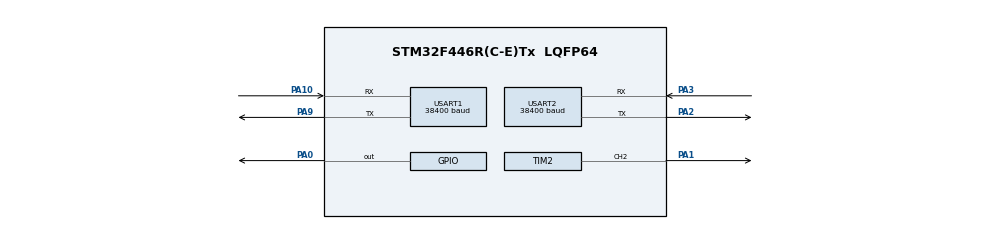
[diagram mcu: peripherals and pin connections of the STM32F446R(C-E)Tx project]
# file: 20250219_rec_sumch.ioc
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Mcu.Family=STM32F4
Mcu.Name=STM32F446R(C-E)Tx
Mcu.Package=LQFP64
NVIC.PriorityGroup=NVIC_PRIORITYGROUP_4
PA0-WKUP.Signal=GPIO_Output
PA1.Signal=S_TIM2_CH2
PA10.Mode=Asynchronous
PA10.Signal=USART1_RX
PA2.Mode=Asynchronous
PA2.Signal=USART2_TX
PA3.Mode=Asynchronous
PA3.Signal=USART2_RX
PA9.Mode=Asynchronous
PA9.Signal=USART1_TX
ProjectManager.HeapSize=0x200
ProjectManager.StackSize=0x400
ProjectManager.TargetToolchain=STM32CubeIDE
RCC.CortexFreq_Value=16000000
RCC.USBFreq_Value=96000000
RCC.VCOOutputFreq_Value=192000000
SH.S_TIM2_CH2.0=TIM2_CH2,PWM Generation2 CH2
TIM2.Channel-PWM\ Generation2\ CH2=TIM_CHANNEL_2
TIM2.OC2Preload_PWM=DISABLE
TIM2.Period=999
TIM2.Prescaler=83
USART1.BaudRate=38400
USART1.VirtualMode=VM_ASYNC
USART2.BaudRate=38400
USART2.VirtualMode=VM_ASYNC
board=custom

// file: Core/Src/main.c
/* USER CODE BEGIN Header */
/**
  ******************************************************************************
  * @file           : main.c
  * @brief          : Main program body
  ******************************************************************************
  * @attention
  *
  * Copyright (c) 2025 STMicroelectronics.
  * All rights reserved.
  *
  * This software is licensed under terms that can be found in the LICENSE file
  * in the root directory of this software component.
  * If no LICENSE file comes with this software, it is provided AS-IS.
  *
  ******************************************************************************
  */
/* USER CODE END Header */
#include "main.h"

/* USER CODE BEGIN Includes */
#include <stdio.h>

/* USER CODE END Includes */

TIM_HandleTypeDef htim2;

UART_HandleTypeDef huart1;
UART_HandleTypeDef huart2;

void SystemClock_Config(void);
static void MX_GPIO_Init(void);
static void MX_USART2_UART_Init(void);
static void MX_USART1_UART_Init(void);
static void MX_TIM2_Init(void);

/* USER CODE BEGIN 0 */
#define REV_SIZE 11
#define WAIT 10
#define TIMEOUT_MAX 15
/* USER CODE END 0 */

int main(void)
{

  /* USER CODE BEGIN 1 */
	setbuf(stdout,NULL);

  /* USER CODE END 1 */

  /* MCU Configuration--------------------------------------------------------*/

  /* Reset of all peripherals, Initializes the Flash interface and the Systick. */
  HAL_Init();

  /* Configure the system clock */
  SystemClock_Config();

  /* Initialize all configured peripherals */
  MX_GPIO_Init();
  MX_USART2_UART_Init();
  MX_USART1_UART_Init();
  MX_TIM2_Init();
  /* USER CODE BEGIN 2 */
  unsigned char revdata[REV_SIZE] = {};
  unsigned char getdata,revsum;
  int timeout = 0;
  HAL_StatusTypeDef status;

  /* USER CODE END 2 */

  /* Infinite loop */
  /* USER CODE BEGIN WHILE */
  while (1)
  {
	  HAL_TIM_PWM_Start(&htim2, TIM_CHANNEL_2);
    /* USER CODE END WHILE */

    /* USER CODE BEGIN 3 */
	  status = HAL_UART_Receive(&huart1, &getdata, 1, WAIT);
	  if(status == HAL_OK){
		  if(getdata == 0xAF){
			  revdata[0] = getdata;
			  revsum = 0x00;
			  for(int i = 1;i < REV_SIZE;i++){
				  HAL_UART_Receive(&huart1, &revdata[i], 1, WAIT);
				  if(i <= 8){
					  revsum += revdata[i];
				  }
			  }
			  if(revdata[10] == 0xED){
				  if(revdata[9] == revsum){
					  for(int i = 0;i < REV_SIZE;i++){
						  printf("%2d:%02x ",i,revdata[i]);
					  }
				  }else {
					  printf("sum is not true");
				  }
			  }else {
				  printf("not END");
			  }

			  printf("\r\n");
		  }
	  }else if(status == HAL_TIMEOUT){
		  HAL_GPIO_TogglePin(GPIOA, GPIO_PIN_0);
		  timeout++;
		  if(timeout >= TIMEOUT_MAX){
			  printf("timeout  %2d\r\n",timeout);
			  timeout = 0;
		  }
	  }
  }
  /* USER CODE END 3 */
}

void SystemClock_Config(void)
{
  RCC_OscInitTypeDef RCC_OscInitStruct = {0};
  RCC_ClkInitTypeDef RCC_ClkInitStruct = {0};

  /** Configure the main internal regulator output voltage
  */
  __HAL_RCC_PWR_CLK_ENABLE();
  __HAL_PWR_VOLTAGESCALING_CONFIG(PWR_REGULATOR_VOLTAGE_SCALE3);

  /** Initializes the RCC Oscillators according to the specified parameters
  * in the RCC_OscInitTypeDef structure.
  */
  RCC_OscInitStruct.OscillatorType = RCC_OSCILLATORTYPE_HSI;
  RCC_OscInitStruct.HSIState = RCC_HSI_ON;
  RCC_OscInitStruct.HSICalibrationValue = RCC_HSICALIBRATION_DEFAULT;
  RCC_OscInitStruct.PLL.PLLState = RCC_PLL_NONE;
  if (HAL_RCC_OscConfig(&RCC_OscInitStruct) != HAL_OK)
  {
    Error_Handler();
  }

  /** Initializes the CPU, AHB and APB buses clocks
  */
  RCC_ClkInitStruct.ClockType = RCC_CLOCKTYPE_HCLK|RCC_CLOCKTYPE_SYSCLK
                              |RCC_CLOCKTYPE_PCLK1|RCC_CLOCKTYPE_PCLK2;
  RCC_ClkInitStruct.SYSCLKSource = RCC_SYSCLKSOURCE_HSI;
  RCC_ClkInitStruct.AHBCLKDivider = RCC_SYSCLK_DIV1;
  RCC_ClkInitStruct.APB1CLKDivider = RCC_HCLK_DIV1;
  RCC_ClkInitStruct.APB2CLKDivider = RCC_HCLK_DIV1;

  if (HAL_RCC_ClockConfig(&RCC_ClkInitStruct, FLASH_LATENCY_0) != HAL_OK)
  {
    Error_Handler();
  }
}

static void MX_TIM2_Init(void)
{

  TIM_MasterConfigTypeDef sMasterConfig = {0};
  TIM_OC_InitTypeDef sConfigOC = {0};

  htim2.Instance = TIM2;
  htim2.Init.Prescaler = 83;
  htim2.Init.CounterMode = TIM_COUNTERMODE_UP;
  htim2.Init.Period = 999;
  htim2.Init.ClockDivision = TIM_CLOCKDIVISION_DIV1;
  htim2.Init.AutoReloadPreload = TIM_AUTORELOAD_PRELOAD_DISABLE;
  if (HAL_TIM_PWM_Init(&htim2) != HAL_OK)
  {
    Error_Handler();
  }
  sMasterConfig.MasterOutputTrigger = TIM_TRGO_RESET;
  sMasterConfig.MasterSlaveMode = TIM_MASTERSLAVEMODE_DISABLE;
  if (HAL_TIMEx_MasterConfigSynchronization(&htim2, &sMasterConfig) != HAL_OK)
  {
    Error_Handler();
  }
  sConfigOC.OCMode = TIM_OCMODE_PWM1;
  sConfigOC.Pulse = 0;
  sConfigOC.OCPolarity = TIM_OCPOLARITY_HIGH;
  sConfigOC.OCFastMode = TIM_OCFAST_DISABLE;
  if (HAL_TIM_PWM_ConfigChannel(&htim2, &sConfigOC, TIM_CHANNEL_2) != HAL_OK)
  {
    Error_Handler();
  }
  __HAL_TIM_DISABLE_OCxPRELOAD(&htim2, TIM_CHANNEL_2);
  HAL_TIM_MspPostInit(&htim2);

}

static void MX_USART1_UART_Init(void)
{

  huart1.Instance = USART1;
  huart1.Init.BaudRate = 38400;
  huart1.Init.WordLength = UART_WORDLENGTH_8B;
  huart1.Init.StopBits = UART_STOPBITS_1;
  huart1.Init.Parity = UART_PARITY_NONE;
  huart1.Init.Mode = UART_MODE_TX_RX;
  huart1.Init.HwFlowCtl = UART_HWCONTROL_NONE;
  huart1.Init.OverSampling = UART_OVERSAMPLING_16;
  if (HAL_UART_Init(&huart1) != HAL_OK)
  {
    Error_Handler();
  }

}

static void MX_USART2_UART_Init(void)
{

  huart2.Instance = USART2;
  huart2.Init.BaudRate = 38400;
  huart2.Init.WordLength = UART_WORDLENGTH_8B;
  huart2.Init.StopBits = UART_STOPBITS_1;
  huart2.Init.Parity = UART_PARITY_NONE;
  huart2.Init.Mode = UART_MODE_TX_RX;
  huart2.Init.HwFlowCtl = UART_HWCONTROL_NONE;
  huart2.Init.OverSampling = UART_OVERSAMPLING_16;
  if (HAL_UART_Init(&huart2) != HAL_OK)
  {
    Error_Handler();
  }

}

static void MX_GPIO_Init(void)
{
  GPIO_InitTypeDef GPIO_InitStruct = {0};

  /* GPIO Ports Clock Enable */
  __HAL_RCC_GPIOA_CLK_ENABLE();

  /*Configure GPIO pin Output Level */
  HAL_GPIO_WritePin(GPIOA, GPIO_PIN_0, GPIO_PIN_RESET);

  /*Configure GPIO pin : PA0 */
  GPIO_InitStruct.Pin = GPIO_PIN_0;
  GPIO_InitStruct.Mode = GPIO_MODE_OUTPUT_PP;
  GPIO_InitStruct.Pull = GPIO_NOPULL;
  GPIO_InitStruct.Speed = GPIO_SPEED_FREQ_LOW;
  HAL_GPIO_Init(GPIOA, &GPIO_InitStruct);

}

/* USER CODE BEGIN 4 */
int _write(int file,char *ptr,int len){
	HAL_UART_Transmit(&huart2, (uint8_t *)ptr, len, WAIT);
	return len;
}

/* USER CODE END 4 */

void Error_Handler(void)
{
  __disable_irq();
  while (1)
  {
  }
}
